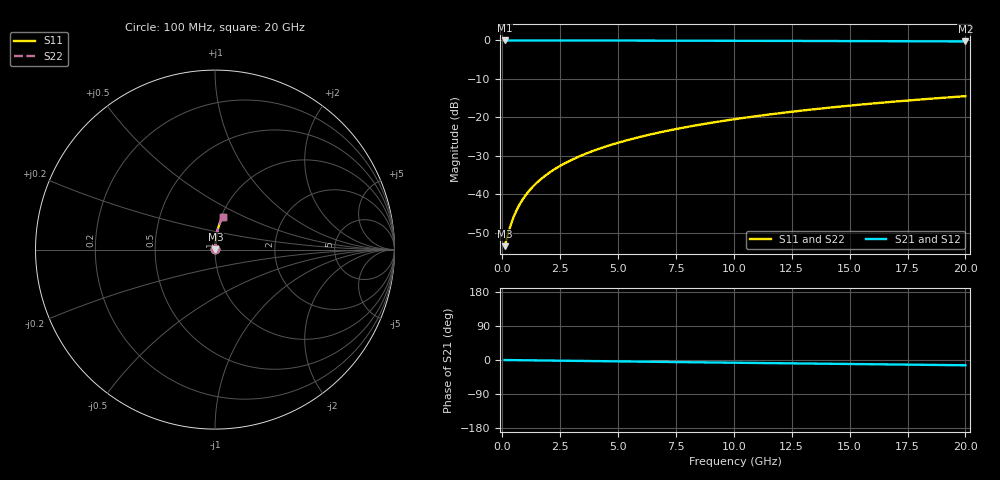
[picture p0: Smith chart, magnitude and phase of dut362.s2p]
! Touchstone file exported from HFSS 2024.1.0
!  File:  C:/UserFiles/LocalFiles/RDL_TSV_Batchsim/temp_RDL_top_362_1779608570.aedt
!  Generated:  03:45:22 PM May 24, 2026
!  Design:  RDL_top
!  Project:  temp_RDL_top_362_1779608570
!  Setup:  Setup1
!  Solution:  Sweep
! Variables:
!  dtsv = 10.80580581um
!  hbump = 3um
!  htsv = 75.14um
!  ldown = 100um
!  lrdl = 135.8um
!  p = 40
!  p1 = 44.02um
!  rhole = 1um
!  t = 450um
!  tdown = 3.915915916um
!  trdl = 2.51um
!  wdown = 15.38538539um
!  wrdl = 11.6um
# GHz S MA R 50.000000
! Terminal data exported
! Port[1] = Box2_T1
! Port[2] = Box2_T2
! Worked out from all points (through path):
!   200 points, 100 MHz to 20 GHz, reference 50 ohm
!   highest |S21| = -0.02 dB at 100 MHz (marker M1); lowest = -0.3 dB at 20 GHz (marker M2)
!   group delay of S21, straight-line fit = 1.92 ps
!   lowest |S11| = -53.4 dB at 100 MHz (marker M3), VSWR 1.00, Z = 50.2 + j0.0969 ohm
!   |S11| at or under -10 dB: start of sweep to end of sweep
!   |S22| runs from -53.4 to -14.5 dB; largest |S21 - S12| = 2e-15
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0.1  0.002126 27.0  0.9981 -0.1  0.9981 -0.1  0.002126 27.0
! Gamma 0 0 0 0
! Port Impedance 50 0 50 0
0.3  0.003472 56.2  0.9981 -0.2  0.9981 -0.2  0.003472 56.2
0.4  0.004308 62.9  0.998 -0.3  0.998 -0.3  0.004308 62.9
0.5  0.00518 67.4  0.998 -0.4  0.998 -0.4  0.00518 67.4
0.6  0.006068 70.5  0.998 -0.5  0.998 -0.5  0.006068 70.5
0.7  0.006966 72.8  0.9979 -0.5  0.9979 -0.5  0.006966 72.8
0.9  0.008775 76.0  0.9978 -0.7  0.9978 -0.7  0.008775 76.0
1.2  0.0115 78.9  0.9977 -0.9  0.9977 -0.9  0.0115 78.9
1.4  0.01333 80.2  0.9976 -1.0  0.9976 -1.0  0.01333 80.2
1.7  0.01608 81.6  0.9975 -1.3  0.9975 -1.3  0.01608 81.6
2.2  0.02069 83.0  0.9972 -1.6  0.9972 -1.6  0.02069 83.0
2.8  0.02625 84.0  0.9969 -2.1  0.9969 -2.1  0.02625 84.0
3.5  0.03277 84.6  0.9964 -2.6  0.9964 -2.6  0.03277 84.6
4.2  0.03933 84.8  0.9958 -3.1  0.9958 -3.1  0.03933 84.8
5  0.04685 84.9  0.995 -3.7  0.995 -3.7  0.04685 84.9
5.9  0.05536 84.9  0.994 -4.3  0.994 -4.3  0.05536 84.9
6.8  0.06391 84.7  0.9929 -5.0  0.9929 -5.0  0.06391 84.7
8.3  0.07822 84.1  0.9909 -6.0  0.9909 -6.0  0.07822 84.1
10.1  0.09545 83.2  0.9881 -7.3  0.9881 -7.3  0.09545 83.2
13.4  0.127 81.3  0.9825 -9.5  0.9825 -9.5  0.127 81.3
16.7  0.1581 79.2  0.9762 -11.7  0.9762 -11.7  0.1581 79.2
20  0.1887 77.0  0.9694 -13.9  0.9694 -13.9  0.1887 77.0
